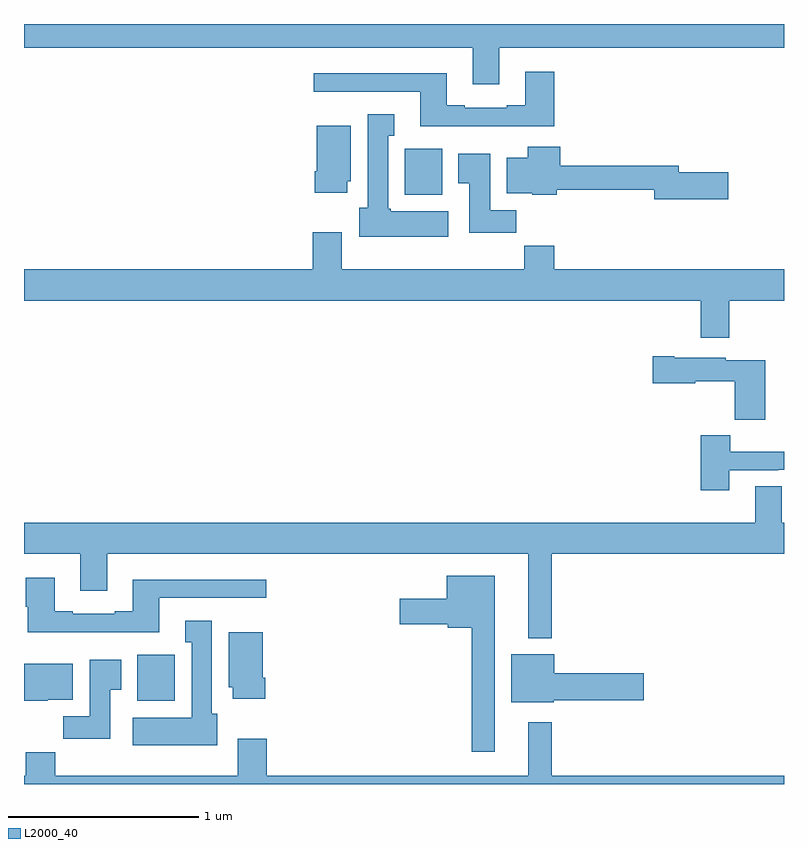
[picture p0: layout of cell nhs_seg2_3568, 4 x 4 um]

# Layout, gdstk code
import gdstk
lib = gdstk.Library(unit=1e-6, precision=1e-09)
def R(c, l, rs):  # rectangles x0, y0, x1, y1
    for r in rs: c.add(gdstk.rectangle(r[:2], r[2:], *l))
def P(c, l, *ps):  # polygons
    for p in ps: c.add(gdstk.Polygon(p, *l))
L2000_40 = (2000, 40)

nhs_seg2_3568 = lib.new_cell('nhs_seg2_3568')
R(nhs_seg2_3568, L2000_40, [(299.597,604.238,299.794,604.48), (301.004,606.902,301.201,607.144)])
P(nhs_seg2_3568, L2000_40, [(301.501,607.676),(303,607.676),(303,607.8),(299,607.8),(299,607.676),(301.361,607.676),(301.361,607.482),(301.501,607.482)],
  [(301.79,607.549),(301.637,607.549),(301.637,607.372),(301.541,607.372),(301.541,607.359),(301.321,607.359),(301.321,607.372),(301.225,607.372),(301.225,607.54),(300.525,607.54),(300.525,607.443),(301.085,607.443),(301.085,607.262),(301.79,607.262)],
  [(301.234,606.814),(300.93,606.814),(300.93,606.828),(300.916,606.828),(300.916,607.211),(300.949,607.211),(300.949,607.324),(300.809,607.324),(300.809,606.834),(300.764,606.834),(300.764,606.68),(301.234,606.68)],
  [(300.7,606.972),(300.721,606.972),(300.721,607.264),(300.542,607.264),(300.542,607.024),(300.53,607.024),(300.53,606.912),(300.7,606.912)],
  [(302.707,607.019),(302.446,607.019),(302.446,607.055),(301.823,607.055),(301.823,607.153),(301.652,607.153),(301.652,607.096),(301.541,607.096),(301.541,606.908),(301.674,606.908),(301.674,606.902),(301.805,606.902),(301.805,606.927),(302.318,606.927),(302.318,606.877),(302.707,606.877)],
  [(301.592,606.82),(301.453,606.82),(301.453,607.117),(301.286,607.117),(301.286,606.961),(301.343,606.961),(301.343,606.702),(301.592,606.702)],
  [(302.713,606.344),(303,606.344),(303,606.508),(301.79,606.508),(301.79,606.632),(301.633,606.632),(301.633,606.508),(300.673,606.508),(300.673,606.703),(300.521,606.703),(300.521,606.508),(299,606.508),(299,606.344),(302.561,606.344),(302.561,606.15),(302.713,606.15)],
  [(302.902,606.031),(302.694,606.031),(302.694,606.043),(302.422,606.043),(302.422,606.051),(302.31,606.051),(302.31,605.909),(302.532,605.909),(302.532,605.921),(302.74,605.921),(302.74,605.717),(302.902,605.717)],
  [(302.713,605.451),(302.969,605.451),(302.969,605.454),(303,605.454),(303,605.548),(302.716,605.548),(302.716,605.635),(302.561,605.635),(302.561,605.346),(302.713,605.346)],
  [(301.777,605.012),(303,605.012),(303,605.176),(302.989,605.176),(302.989,605.366),(302.849,605.366),(302.849,605.176),(299,605.176),(299,605.012),(299.297,605.012),(299.297,604.818),(299.437,604.818),(299.437,605.012),(301.655,605.012),(301.655,604.568),(301.777,604.568)],
  [(301.477,604.897),(301.226,604.897),(301.226,604.774),(300.978,604.774),(300.978,604.64),(301.23,604.64),(301.23,604.622),(301.356,604.622),(301.356,603.969),(301.477,603.969)],
  [(299.713,604.779),(300.274,604.779),(300.274,604.876),(299.573,604.876),(299.573,604.708),(299.477,604.708),(299.477,604.695),(299.257,604.695),(299.257,604.708),(299.161,604.708),(299.161,604.885),(299.009,604.885),(299.009,604.732),(299.021,604.732),(299.021,604.598),(299.713,604.598)],
  [(300.016,604.17),(299.989,604.17),(299.989,604.66),(299.849,604.66),(299.849,604.547),(299.882,604.547),(299.882,604.15),(299.573,604.15),(299.573,604.004),(300.016,604.004)],
  [(300.269,604.36),(300.256,604.36),(300.256,604.6),(300.077,604.6),(300.077,604.308),(300.098,604.308),(300.098,604.248),(300.269,604.248)],
  [(301.788,604.24),(302.263,604.24),(302.263,604.382),(301.792,604.382),(301.792,604.483),(301.565,604.483),(301.565,604.229),(301.788,604.229)],
  [(299.455,604.297),(299.512,604.297),(299.512,604.453),(299.345,604.453),(299.345,604.156),(299.206,604.156),(299.206,604.038),(299.455,604.038)],
  [(299.124,604.244),(299.257,604.244),(299.257,604.432),(299,604.432),(299,604.238),(299.124,604.238)],
  [(303,603.844),(301.777,603.844),(301.777,604.126),(301.655,604.126),(301.655,603.844),(300.278,603.844),(300.278,604.039),(300.125,604.039),(300.125,603.844),(299.165,603.844),(299.165,603.968),(299.009,603.968),(299.009,603.844),(299,603.844),(299,603.8),(303,603.8)])

lib.write_gds('nhs_seg2_3568.gds')
